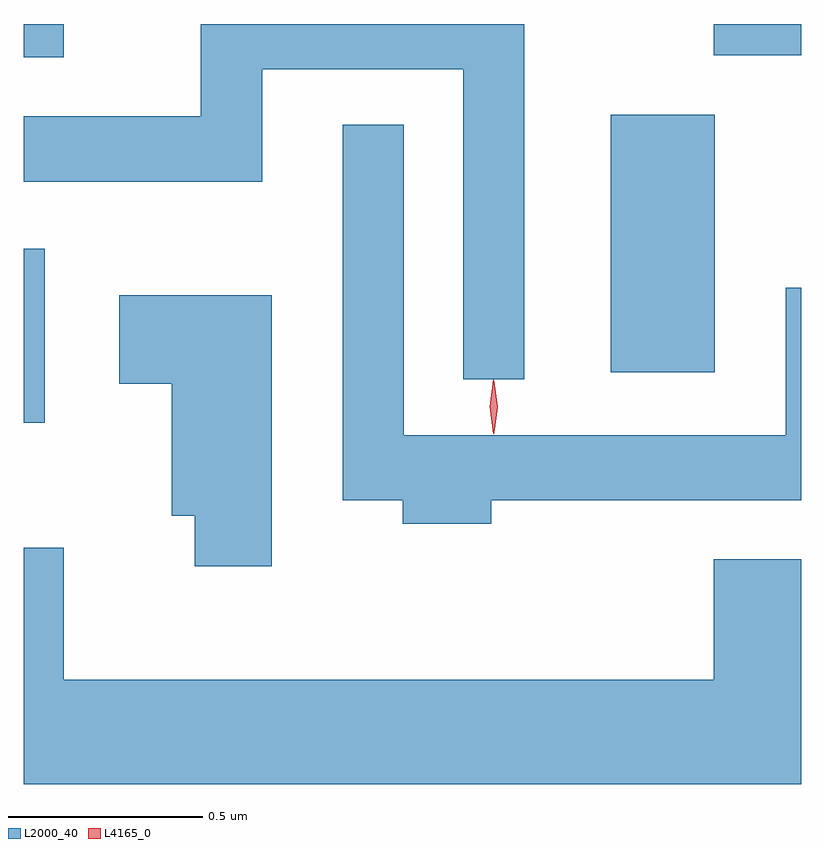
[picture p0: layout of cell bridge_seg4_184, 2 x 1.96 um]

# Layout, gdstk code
import gdstk
lib = gdstk.Library(unit=1e-6, precision=1e-09)
def R(c, l, rs):  # rectangles x0, y0, x1, y1
    for r in rs: c.add(gdstk.rectangle(r[:2], r[2:], *l))
def P(c, l, *ps):  # polygons
    for p in ps: c.add(gdstk.Polygon(p, *l))
L2000_40 = (2000, 40)
L4165_0 = (4165, 0)

bridge_seg4_184 = lib.new_cell('bridge_seg4_184')
R(bridge_seg4_184, L2000_40, [(1061.416,1295.666,1061.469,1296.114), (1062.926,1295.796,1063.194,1296.459), (1061.416,1296.606,1061.519,1296.692), (1063.191,1296.611,1063.416,1296.692)])
P(bridge_seg4_184, L2000_40, [(1062.704,1296.692),(1061.871,1296.692),(1061.871,1296.454),(1061.416,1296.454),(1061.416,1296.286),(1062.029,1296.286),(1062.029,1296.576),(1062.546,1296.576),(1062.546,1295.778),(1062.704,1295.778)],
  [(1062.619,1295.466),(1063.416,1295.466),(1063.416,1296.013),(1063.376,1296.013),(1063.376,1295.634),(1062.394,1295.634),(1062.394,1296.433),(1062.236,1296.433),(1062.236,1295.466),(1062.391,1295.466),(1062.391,1295.406),(1062.619,1295.406)],
  [(1062.054,1295.994),(1061.661,1295.994),(1061.661,1295.766),(1061.796,1295.766),(1061.796,1295.426),(1061.856,1295.426),(1061.856,1295.296),(1062.054,1295.296)],
  [(1063.416,1295.314),(1063.191,1295.314),(1063.191,1295.004),(1061.519,1295.004),(1061.519,1295.344),(1061.416,1295.344),(1061.416,1294.736),(1063.416,1294.736)])
P(bridge_seg4_184, L4165_0, [(1062.626,1295.639),(1062.625,1295.64),(1062.616,1295.706),(1062.625,1295.772),(1062.626,1295.773),(1062.626,1295.772),(1062.636,1295.706),(1062.626,1295.64)],
  [(1062.625,1295.637),(1062.624,1295.638),(1062.615,1295.707),(1062.624,1295.776),(1062.625,1295.776),(1062.625,1295.776),(1062.635,1295.707),(1062.625,1295.638)])

lib.write_gds('bridge_seg4_184.gds')
